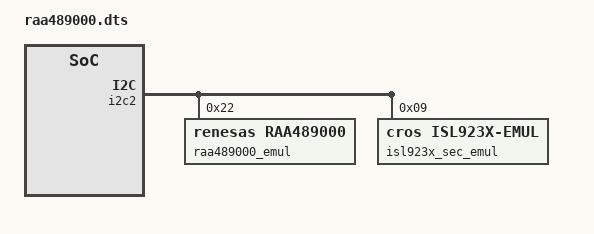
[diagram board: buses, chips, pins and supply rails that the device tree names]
/* Copyright 2024 The ChromiumOS Authors
 * Use of this source code is governed by a BSD-style license that can be
 * found in the LICENSE file.
 */

#include <dt-bindings/usb_pd_tcpm.h>

/ {
	usbc {
		port0@0 {
			compatible = "named-usbc-port";
			tcpc = <&raa489000_emul>;
		};

		port1@1 {
			compatible = "named-usbc-port";
			chg = <&isl923x_sec_emul>;
		};
	};
};

&i2c2 {
	status="okay";

	raa489000_emul: raa489000@22 {
		compatible = "renesas,raa489000";
		status = "okay";
		reg = <0x22>;
		tcpc-flags = <(
			TCPC_FLAGS_TCPCI_REV2_0 |
			TCPC_FLAGS_VBUS_MONITOR)>;
	};

	isl923x_sec_emul: isl923x-sec@9 {
		compatible = "cros,isl923x-emul";
		status = "okay";
		reg = <0x9>;
		battery = <&battery>;
	};
};
